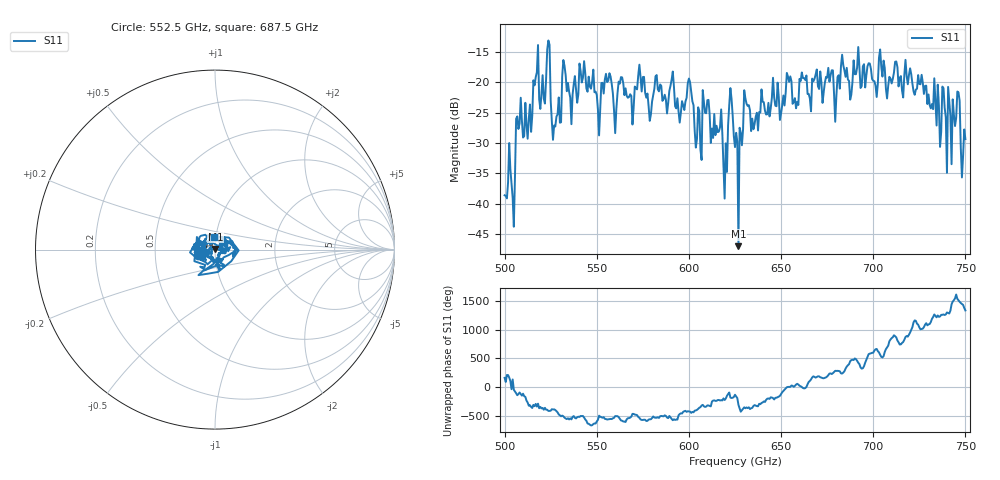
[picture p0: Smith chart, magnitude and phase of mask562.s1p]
!Created with skrf (http://scikit-rf.org).
# GHz S MA R 50.0
!freq magS11 angS11
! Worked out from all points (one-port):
!   401 points, 500 GHz to 750 GHz, reference 50 ohm
!   lowest |S11| = -47.0 dB at 626.9 GHz (marker M1), VSWR 1.01, Z = 50.3 + j0.356 ohm
!   |S11| at or under -10 dB: start of sweep to end of sweep
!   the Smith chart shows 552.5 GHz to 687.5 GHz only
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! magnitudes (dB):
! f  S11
! 500 GHz  -38.6
! 504.4 GHz  -39.1
! 507.5 GHz  -27.7
! 513.8 GHz  -23.6
! 516.9 GHz  -19.1
! 520.6 GHz  -18.8
! 523.8 GHz  -13.1
! 526.9 GHz  -27.1
! 531.2 GHz  -19.0
! 550.6 GHz  -24.4
! 556.2 GHz  -19.7
! 560 GHz  -28.4
! 562.5 GHz  -20.2
! 593.8 GHz  -22.6
! 600.6 GHz  -20.0
! 605.6 GHz  -24.7
! 608.8 GHz  -25.0
! 619.4 GHz  -39.2
! 622.5 GHz  -20.9
! 625 GHz  -30.7
! 626.9 GHz  -47.0
! 631.2 GHz  -23.5
! 656.2 GHz  -23.5
! 687.5 GHz  -22.8
! 718.8 GHz  -20.3
! 741.2 GHz  -23.0
! 745.6 GHz  -21.5
! 750 GHz  -29.4
